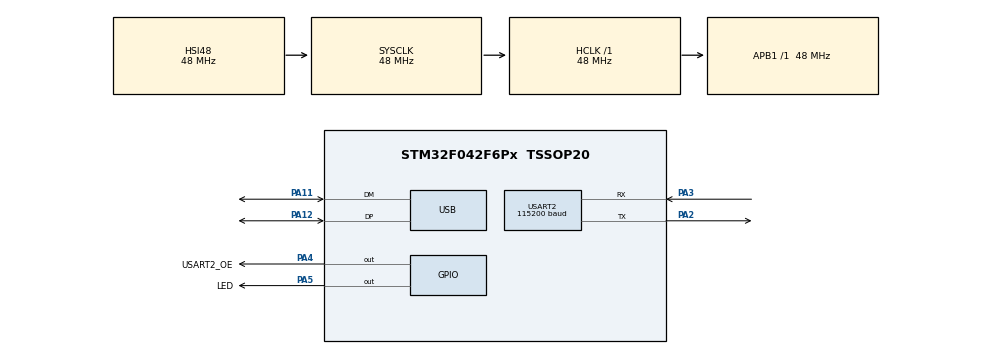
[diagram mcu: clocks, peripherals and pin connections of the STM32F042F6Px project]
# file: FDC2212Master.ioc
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Mcu.Family=STM32F0
Mcu.Name=STM32F042F6Px
Mcu.Package=TSSOP20
NVIC.TIM3_IRQn=true\:0\:0\:false\:false\:true
NVIC.USART2_IRQn=true\:0\:0\:false\:false\:true
NVIC.USB_IRQn=true\:0\:0\:false\:false\:true
PA11.Mode=Device
PA11.Signal=USB_DM
PA12.Mode=Device
PA12.Signal=USB_DP
PA13.Mode=Serial-WireDebug
PA13.Signal=SYS_SWDIO
PA14.Mode=Serial-WireDebug
PA14.Signal=SYS_SWCLK
PA2.Mode=Asynchronous
PA2.Signal=USART2_TX
PA3.Mode=Asynchronous
PA3.Signal=USART2_RX
PA4.GPIO_Label=USART2_OE
PA4.Signal=GPIO_Output
PA5.GPIO_Label=LED
PA5.Signal=GPIO_Output
ProjectManager.HeapSize=0x200
ProjectManager.StackSize=0x400
ProjectManager.TargetToolchain=SW4STM32
RCC.AHBFreq_Value=48000000
RCC.APB1Freq_Value=48000000
RCC.APB1TimFreq_Value=48000000
RCC.HCLKFreq_Value=48000000
RCC.SYSCLKFreq_VALUE=48000000
RCC.SYSCLKSource=RCC_SYSCLKSOURCE_HSI48
TIM3.CounterMode=TIM_COUNTERMODE_UP
TIM3.Period=50
TIM3.Prescaler=48000
TIM3.TIM_MasterOutputTrigger=TIM_TRGO_RESET
USART2.BaudRate=115200
USART2.RxPinLevelInvertParam=UART_ADVFEATURE_RXINV_ENABLE
USART2.TxPinLevelInvertParam=UART_ADVFEATURE_TXINV_ENABLE
USART2.WordLength=UART_WORDLENGTH_8B
USB_DEVICE.CLASS_NAME_FS=CDC
USB_DEVICE.USBD_HandleTypeDef=hUsbDeviceFS
USB_DEVICE.VirtualMode=Cdc
USB_DEVICE.VirtualModeFS=Cdc_FS
VP_SYS_VS_PINREMAP.Mode=PINREMAP
VP_TIM3_VS_ClockSourceINT.Mode=Internal
VP_USB_DEVICE_VS_USB_DEVICE_CDC_FS.Mode=CDC_FS
board=FDC2212Master

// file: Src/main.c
/**
  ******************************************************************************
  * File Name          : main.c
  * Description        : Main program body
  ******************************************************************************
  *
  * COPYRIGHT(c) 2016 STMicroelectronics
  *
  * Redistribution and use in source and binary forms, with or without modification,
  * are permitted provided that the following conditions are met:
  *   1. Redistributions of source code must retain the above copyright notice,
  *      this list of conditions and the following disclaimer.
  *   2. Redistributions in binary form must reproduce the above copyright notice,
  *      this list of conditions and the following disclaimer in the documentation
  *      and/or other materials provided with the distribution.
  *   3. Neither the name of STMicroelectronics nor the names of its contributors
  *      may be used to endorse or promote products derived from this software
  *      without specific prior written permission.
  *
  * THIS SOFTWARE IS PROVIDED BY THE COPYRIGHT HOLDERS AND CONTRIBUTORS "AS IS"
  * AND ANY EXPRESS OR IMPLIED WARRANTIES, INCLUDING, BUT NOT LIMITED TO, THE
  * IMPLIED WARRANTIES OF MERCHANTABILITY AND FITNESS FOR A PARTICULAR PURPOSE ARE
  * DISCLAIMED. IN NO EVENT SHALL THE COPYRIGHT HOLDER OR CONTRIBUTORS BE LIABLE
  * FOR ANY DIRECT, INDIRECT, INCIDENTAL, SPECIAL, EXEMPLARY, OR CONSEQUENTIAL
  * DAMAGES (INCLUDING, BUT NOT LIMITED TO, PROCUREMENT OF SUBSTITUTE GOODS OR
  * SERVICES; LOSS OF USE, DATA, OR PROFITS; OR BUSINESS INTERRUPTION) HOWEVER
  * CAUSED AND ON ANY THEORY OF LIABILITY, WHETHER IN CONTRACT, STRICT LIABILITY,
  * OR TORT (INCLUDING NEGLIGENCE OR OTHERWISE) ARISING IN ANY WAY OUT OF THE USE
  * OF THIS SOFTWARE, EVEN IF ADVISED OF THE POSSIBILITY OF SUCH DAMAGE.
  *
  ******************************************************************************
  */
#include "stm32f0xx_hal.h"
#include "usb_device.h"

/* USER CODE BEGIN Includes */
#include "stm32f0xx_hal_flash.h"
#include "stm32f0xx_hal_flash_ex.h"

__attribute__((section(".config"))) volatile uint16_t flashconfig[32];
volatile uint16_t config[32];

#define CONFIG_KEY_VALID           0
#define CONFIG_KEY_SCANMODE        1
#define CONFIG_KEY_MAX_SLAVE       2
#define CONFIG_KEY_CYCLE_TIME      3
#define CONFIG_KEY_MEASURE_TIME    4
#define CONFIG_KEY_MEASURE_CURRENT 5
#define CONFIG_KEY_LAST            6

#define CONFIG_VALID     config[CONFIG_KEY_VALID]
#define CYCLE_TIME       config[CONFIG_KEY_CYCLE_TIME]
#define MAX_SLAVE        config[CONFIG_KEY_MAX_SLAVE]

#define MEASURE_CURRENT   config[CONFIG_KEY_MEASURE_CURRENT]
#define MEASURE_TIME      config[CONFIG_KEY_MEASURE_TIME]
#define MEASURE_DURATION  (MEASURE_TIME * 2500)
#define SCANMODE          config[CONFIG_KEY_SCANMODE]
//#define MEASURE_DURATION  0x8329

#define USE_USB
#define CONFIGURE_SENSOR

#define SCANMODE_CONTINUOUS  1
#define SCANMODE_SYNCSTOP    2
#define SCANMODE_EARLYSTOP   3

#include "usbd_cdc_if.h"
/* USER CODE END Includes */

TIM_HandleTypeDef htim3;

UART_HandleTypeDef huart2;

/* USER CODE BEGIN PV */
/* Private variables ---------------------------------------------------------*/

#define UART_BUFFER_SIZE 8
volatile uint8_t* uart_read_buf, *uart_write_buf;
volatile int uart_read_pos, uart_read_end, uart_write_pos, uart_write_end;
volatile int tick;
extern USBD_HandleTypeDef hUsbDeviceFS;
char usb_buf[64];
uint8_t usb_pos;
char response[255];
/* USER CODE END PV */

void SystemClock_Config(void);
static void MX_GPIO_Init(void);
static void MX_USART2_UART_Init(void);
static void MX_TIM3_Init(void);

/* USER CODE BEGIN PFP */
/* Private function prototypes -----------------------------------------------*/

/* USER CODE END PFP */

/* USER CODE BEGIN 0 */

#define MODE_STOP        1
#define MODE_CONFIGURE   2
#define MODE_RUN         3
int mode = MODE_CONFIGURE;

void HAL_TIM_PeriodElapsedCallback(TIM_HandleTypeDef *htim)
{
  if (htim->Instance==TIM3) //check if the interrupt comes from TIM3
  {
    tick++;
  }
}

void send_usb(char* data) {
#ifdef USE_USB
  if(*data==0) return;
  while(CDC_Transmit_FS((uint8_t*)data, strlen(data)) == USBD_BUSY);
  *data=0;
#endif
}

void try_send_usb(char* data) {
#ifdef USE_USB
  if(*data==0) return;
  if(CDC_Transmit_FS((uint8_t*)data, strlen(data)) != USBD_BUSY) {
    *data=0;
  }
#endif
}

void printconfig() {
  strcat(response, "** Current Configuration:\r\n");
  char line[32];
  if(SCANMODE == SCANMODE_CONTINUOUS) {
    sprintf(line, "scan_mode       = continuous\r\n"); strcat(response, line);
  } else if(SCANMODE == SCANMODE_EARLYSTOP) {
    sprintf(line, "scan_mode       = earlystop\r\n"); strcat(response, line);
  } else if(SCANMODE == SCANMODE_SYNCSTOP) {
    sprintf(line, "scan_mode       = syncstop\r\n"); strcat(response, line);
  }
  {
    sprintf(line, "max_slave       = %i\r\n", MAX_SLAVE); strcat(response, line);
    sprintf(line, "cycle_time      = %i\r\n", CYCLE_TIME); strcat(response, line);
    sprintf(line, "measure_time    = %i\r\n", MEASURE_TIME); strcat(response, line);
    sprintf(line, "measure_current = %i\r\n", MEASURE_CURRENT); strcat(response, line);
  }
}

void loadconfig() {
  if(flashconfig[CONFIG_KEY_VALID] == 0) {
    strcat(response, "** Loading default configuration.\r\n");
    config[CONFIG_KEY_VALID] = 1;
    MAX_SLAVE = 32;
    SCANMODE = SCANMODE_SYNCSTOP;
    CYCLE_TIME = 20;
    MEASURE_TIME = 13;
    MEASURE_CURRENT = 0x1E;
  } else {
    strcat(response, "** Loading configuration from flash.\r\n");
    for(int i=0; i<CONFIG_KEY_LAST; i++) {
      config[i] = flashconfig[i];
    }
  }
}

void storeconfig() {
  strcat(response, "** Saving configuration to flash.\r\n");
  uint32_t ret;
  FLASH_EraseInitTypeDef stru;
  stru.NbPages = 1;
  stru.PageAddress = (uint32_t) &flashconfig[0];
  stru.TypeErase = TYPEERASE_PAGEERASE;
  HAL_FLASH_Unlock();
  HAL_FLASHEx_Erase(&stru, &ret);
  HAL_FLASH_Lock();

  HAL_FLASH_Unlock();
  for(int i=0; i<CONFIG_KEY_LAST; i++) {
    ret = HAL_FLASH_Program(TYPEPROGRAM_HALFWORD, (uint32_t) &flashconfig[i], config[i]);
  }
  HAL_FLASH_Lock();
}

void usb_received(uint8_t byte) {
#ifdef USE_USB
 if(byte == '\r') {
  sprintf(response, "\r\n");
  usb_buf[usb_pos] = 0;
  int number;
  if(strcmp("stop", usb_buf)== 0 || (mode == MODE_RUN && strcmp("", usb_buf)==0)) {
    strcat(response, "** Configuration Mode\r\n");
    mode = MODE_STOP;
  } else if(strcmp("go", usb_buf)==0 || (mode == MODE_STOP && strcmp("", usb_buf)==0)) {
    strcat(response, "** Continuing Measurement\r\n");
    mode = MODE_CONFIGURE;
  } else if(strcmp("set scan_mode continuous", usb_buf)==0) {
    strcat(response, "** Switched To Continuous Measurement Mode\r\n");
    SCANMODE = SCANMODE_CONTINUOUS;
    printconfig();
  } else if(strcmp("set scan_mode earlystop", usb_buf)==0) {
    strcat(response, "** Switched To Early Stop Measurement Mode\r\n");
    SCANMODE = SCANMODE_EARLYSTOP;
    printconfig();
  } else if(strcmp("set scan_mode syncstop", usb_buf)==0) {
    strcat(response, "** Switched To Synchronized Stop Measurement Mode\r\n");
    SCANMODE = SCANMODE_SYNCSTOP;
    printconfig();
  } else if(sscanf(usb_buf, "set max_slave %i", &number) == 1) {
    if(number < 0 || number > 255) {
      strcat(response, "** max_slave has to be between 0 and 255\r\n");
    } else {
      MAX_SLAVE = number;
      printconfig();
    }
  } else if(sscanf(usb_buf, "set cycle_time %i", &number) == 1) {
    if(number <= MEASURE_TIME) {
      strcat(response, "** cycle_time has to be greater than measure_time\r\n");
    } else {
      CYCLE_TIME = number;
      printconfig();
    }
  } else if(sscanf(usb_buf, "set measure_time %i", &number) == 1) {
    if(number >= CYCLE_TIME) {
      strcat(response, "** measure_time has to be less than cycle_time\r\n");
    } else if(number < 1 || number > 13) {
      strcat(response, "** measure_time has to be between 1 and 13\r\n");
    } else {
      MEASURE_TIME = number;
      printconfig();
    }
  } else if(sscanf(usb_buf, "set measure_current %i", &number) == 1) {
    if(number < 0 || number > 0x1F) {
      strcat(response, "** measure_current has to be between 1 and 31\r\n");
    } else {
      MEASURE_CURRENT = number;
      printconfig();
    }
  } else if(strcmp("set", usb_buf)==0) {
    printconfig();
  } else if(strcmp("reset", usb_buf)==0) {
    config[CONFIG_KEY_VALID] = 0;
    storeconfig();
    loadconfig();
    printconfig();
  } else if(strcmp("save", usb_buf)==0) {
    storeconfig();
    loadconfig();
    printconfig();
  } else if(strcmp("load", usb_buf)==0) {
    loadconfig();
    printconfig();
  } else if(strcmp("set scan_mode", usb_buf)==0) {
    strcat(response, "** Available commands:\r\n");
    strcat(response, "set scan_mode continuous\r\n");
    strcat(response, "set scan_mode earlystop\r\n");
    strcat(response, "set scan_mode syncstop\r\n");
  } else if(strcmp("help", usb_buf)==0) {
    strcat(response, "** Available commands:\r\n");
    strcat(response, "set                show configuration\r\n");
    strcat(response, "set [key] [value]  change configuration [key] to [value]\r\n");
    strcat(response, "load               load configuration from flash\r\n");
    strcat(response, "save               store configuration to flash\r\n");
    strcat(response, "reset              reset configuration to default\r\n");
    strcat(response, "** Press return to continue measurement\r\n");
  } else {
    strcat(response, "** Invalid command ");
    strcat(response, usb_buf);
    strcat(response, "\r\n");
  }
  usb_pos = 0;
 } else if(byte == '\n') {
   // ignore
 } else if(byte == 0x7F) {
   // backspace
   char str[2] = {byte, 0}; strcat(response, str);
   if(usb_pos > 0) usb_pos--;
 } else if(usb_pos < 63 && mode == MODE_STOP) {
   char str[2] = {byte, 0}; strcat(response, str);
   usb_buf[usb_pos++] = byte;
 }
#endif
}

int uart_can_read_len(int len) {
 return ((uart_read_end - uart_read_pos + UART_BUFFER_SIZE) % UART_BUFFER_SIZE) >= len;
}
void uart_flush() {
 uart_read_pos = uart_read_end;
}
uint8_t uart_read() {
 uint8_t ret = uart_read_buf[uart_read_pos];
 uart_read_pos = (uart_read_pos + 1) % UART_BUFFER_SIZE;
 return ret;
}
int uart_write(char data) {
 int next = (uart_write_end + 1) % UART_BUFFER_SIZE;
 if(next == uart_write_pos) return 0;
 uart_write_buf[uart_write_end] = data;
 uart_write_end = next;
 __HAL_UART_ENABLE_IT(&huart2, UART_IT_TXE);
 return 1;
}
int uart_write_complete() {
  return uart_write_pos == uart_write_end;
}

void send_uart(char* data, int len) {
  int i;
  HAL_GPIO_WritePin(USART2_OE_GPIO_Port, USART2_OE_Pin, GPIO_PIN_SET);
  __HAL_UART_SEND_REQ(&huart2, UART_SENDBREAK_REQUEST);
  for(i=0; i<100; i++);
  for(i=0; i<len; i++) uart_write(data[i]);
  while(!uart_write_complete());
}

/* USER CODE END 0 */

int main(void)
{

  /* USER CODE BEGIN 1 */
    uart_read_pos = -1; uart_read_end = -1;
    uart_write_pos = -1; uart_write_end = -1;
    tick = 0;
    int i;
    int slaves = 0;
    loadconfig();

  /* USER CODE END 1 */

  /* MCU Configuration----------------------------------------------------------*/

  /* Reset of all peripherals, Initializes the Flash interface and the Systick. */
  HAL_Init();

  /* Configure the system clock */
  SystemClock_Config();

  /* Initialize all configured peripherals */
  MX_GPIO_Init();
  MX_USART2_UART_Init();
  MX_USB_DEVICE_Init();
  MX_TIM3_Init();

  /* USER CODE BEGIN 2 */
  HAL_TIM_Base_Start_IT(&htim3);

  HAL_GPIO_WritePin(USART2_OE_GPIO_Port, USART2_OE_Pin, GPIO_PIN_RESET);
  HAL_GPIO_WritePin(LED_GPIO_Port, LED_Pin, GPIO_PIN_RESET);
  __HAL_UART_ENABLE_IT(&huart2, UART_IT_RXNE);
  __HAL_UART_ENABLE_IT(&huart2, UART_IT_ERR);

  uart_read_buf = malloc(UART_BUFFER_SIZE);
  uart_write_buf = malloc(UART_BUFFER_SIZE);
  uart_read_pos = uart_read_end = uart_write_pos = uart_write_end = 0;

  tick = 0; while(tick < 50);

#ifdef USE_USB
  USBD_CDC_ReceivePacket(&hUsbDeviceFS);
#endif

  tick = 0; while(tick < 500);
  tick = 0;

  sprintf(response, "** Capacitive Sensor Starting - Press Return To Configure\r\n");

  /* USER CODE END 2 */

  /* Infinite loop */
    while (1) {

  /* USER CODE BEGIN 3 */

        switch(mode) {

        case MODE_CONFIGURE:
            {
                sprintf(response,"** Detecting Sensors\r\n"); send_usb(response);
                slaves = 0;
                for(int slave = 1; slave < MAX_SLAVE; slave++) {
                    // query status
                    HAL_GPIO_WritePin(LED_GPIO_Port, LED_Pin, GPIO_PIN_SET);
                    {char data[] = {slave, 0x10}; send_uart(data, 2);}
                    HAL_GPIO_WritePin(LED_GPIO_Port, LED_Pin, GPIO_PIN_RESET);
                    tick = 0; while(tick < 10);
                    // no response? -> try next slave
                    if(!uart_can_read_len(2)) {
                        uart_flush();
                        continue;
                    }
                    HAL_GPIO_WritePin(LED_GPIO_Port, LED_Pin, GPIO_PIN_SET);
                    sprintf(response,"Found sensor #%02x\r\n", slave); send_usb(response);

                    // report channels at the corresponding broadcast message
                    {tick = 0; char data[] = {slave, 0x12, 0x00, slaves * 4}; send_uart(data, 4); while(tick < 10); }
                    {tick = 0; char data[] = {slave, 0x22, 0x01, slaves * 4}; send_uart(data, 4); while(tick < 10);}

                    #ifdef CONFIGURE_SENSOR
                    {tick = 0; char data[] = {slave, 0x13, MEASURE_CURRENT, MEASURE_DURATION >> 8, MEASURE_DURATION & 0xFF}; send_uart(data, 5); while(tick < 10);}
                    {tick = 0; char data[] = {slave, 0x23, MEASURE_CURRENT, MEASURE_DURATION >> 8, MEASURE_DURATION & 0xFF}; send_uart(data, 5); while(tick < 10);}
                    #endif

                    // global settings
                    if(SCANMODE == SCANMODE_SYNCSTOP) {
                        // scan at start of other broadcast message
                        {tick = 0; char data[] = {slave, 0x11, 0x01, 0x00}; send_uart(data, 4); while(tick < 10);}
                        {tick = 0; char data[] = {slave, 0x21, 0x00, 0x00}; send_uart(data, 4); while(tick < 10);}
                        // stop on 0xFF broadcast
                        {tick = 0; char data[] = {slave, 0x01, 0xFF, 0x00}; send_uart(data, 4); while(tick < 10);}
                    } else if(SCANMODE == SCANMODE_EARLYSTOP) {
                        // scan at start of other broadcast message
                        {tick = 0; char data[] = {slave, 0x11, 0x01, 0x00}; send_uart(data, 4); while(tick < 10);}
                        {tick = 0; char data[] = {slave, 0x21, 0x00, 0x00}; send_uart(data, 4); while(tick < 10);}
                        // disable stop broadcast
                        {tick = 0; char data[] = {slave, 0x01}; send_uart(data, 2); while(tick < 10);}
                    } else if(SCANMODE == SCANMODE_CONTINUOUS) {
                        // enable continuous scan
                        {tick = 0; char data[] = {slave, 0x02}; send_uart(data, 2); while(tick < 10);}
                    }
                    HAL_GPIO_WritePin(LED_GPIO_Port, LED_Pin, GPIO_PIN_RESET);

                    slaves++;
                    uart_flush();
                }

                sprintf(response,"** Configuration completed\r\n"); send_usb(response);

                mode = MODE_RUN;
                break;
            }
        case MODE_STOP:
            {
                if(*response != 0) try_send_usb(response);
                break;
            }
        case MODE_RUN:
            {
                int channelCount = (SCANMODE == SCANMODE_CONTINUOUS) ? 1 : 2;

                sprintf(response,"\r\n\t"); send_usb(response);
                for(int current = 0; current < channelCount; current++) {
                    HAL_GPIO_WritePin(LED_GPIO_Port, LED_Pin, GPIO_PIN_SET);
                    // send corresponding broadcast
                    {char data[] = {0x00, current}; send_uart(data, 2);}
                    HAL_GPIO_WritePin(LED_GPIO_Port, LED_Pin, GPIO_PIN_RESET);

                    int received = 0;
                    while(tick < CYCLE_TIME - 1) {
                        if(!uart_can_read_len(4)) continue;

                        response[0] = uart_read();
                        response[1] = uart_read();
                        response[2] = uart_read();
                        response[3] = uart_read();
                        int32_t value = *((int32_t*)(response));

                        if(mode != MODE_RUN) break;
                        sprintf(response,"%lu\t", value); send_usb(response);
                        received++;
                    }

                    if(SCANMODE == SCANMODE_SYNCSTOP) {
                        char data[] = {0x00, 0xFF}; send_uart(data, 2);
                    }

                    while(tick < CYCLE_TIME);
                    tick -= CYCLE_TIME;

                    if(mode != MODE_RUN) break;
                    for(i=received; i<slaves; i++) {
                        sprintf(response,"-0\t"); send_usb(response);
                    }
                    uart_flush();
                }

                break;
            }
        default:
            {
                sprintf(response,"Invalid mode %i\r\n\t", mode); send_usb(response);
            }
        }
    }

    sprintf(response,"Exiting main loop\r\n"); send_usb(response);
  /* USER CODE END 3 */

}

/** System Clock Configuration
*/
void SystemClock_Config(void)
{

  RCC_OscInitTypeDef RCC_OscInitStruct;
  RCC_ClkInitTypeDef RCC_ClkInitStruct;
  RCC_PeriphCLKInitTypeDef PeriphClkInit;

  RCC_OscInitStruct.OscillatorType = RCC_OSCILLATORTYPE_HSI48;
  RCC_OscInitStruct.HSI48State = RCC_HSI48_ON;
  RCC_OscInitStruct.PLL.PLLState = RCC_PLL_NONE;
  HAL_RCC_OscConfig(&RCC_OscInitStruct);

  RCC_ClkInitStruct.ClockType = RCC_CLOCKTYPE_HCLK|RCC_CLOCKTYPE_SYSCLK
                              |RCC_CLOCKTYPE_PCLK1;
  RCC_ClkInitStruct.SYSCLKSource = RCC_SYSCLKSOURCE_HSI48;
  RCC_ClkInitStruct.AHBCLKDivider = RCC_SYSCLK_DIV1;
  RCC_ClkInitStruct.APB1CLKDivider = RCC_HCLK_DIV1;
  HAL_RCC_ClockConfig(&RCC_ClkInitStruct, FLASH_LATENCY_1);

  PeriphClkInit.PeriphClockSelection = RCC_PERIPHCLK_USB;
  PeriphClkInit.UsbClockSelection = RCC_USBCLKSOURCE_HSI48;
  HAL_RCCEx_PeriphCLKConfig(&PeriphClkInit);

  HAL_SYSTICK_Config(HAL_RCC_GetHCLKFreq()/1000);

  HAL_SYSTICK_CLKSourceConfig(SYSTICK_CLKSOURCE_HCLK);

  /* SysTick_IRQn interrupt configuration */
  HAL_NVIC_SetPriority(SysTick_IRQn, 0, 0);
}

/* TIM3 init function */
void MX_TIM3_Init(void)
{

  TIM_ClockConfigTypeDef sClockSourceConfig;
  TIM_MasterConfigTypeDef sMasterConfig;

  htim3.Instance = TIM3;
  htim3.Init.Prescaler = 24000;
  htim3.Init.CounterMode = TIM_COUNTERMODE_UP;
  htim3.Init.Period = 1;
  htim3.Init.ClockDivision = TIM_CLOCKDIVISION_DIV1;
  HAL_TIM_Base_Init(&htim3);

  sClockSourceConfig.ClockSource = TIM_CLOCKSOURCE_INTERNAL;
  HAL_TIM_ConfigClockSource(&htim3, &sClockSourceConfig);

  sMasterConfig.MasterOutputTrigger = TIM_TRGO_RESET;
  sMasterConfig.MasterSlaveMode = TIM_MASTERSLAVEMODE_DISABLE;
  HAL_TIMEx_MasterConfigSynchronization(&htim3, &sMasterConfig);

}

/* USART2 init function */
void MX_USART2_UART_Init(void)
{

  huart2.Instance = USART2;
  huart2.Init.BaudRate = 115200;
  huart2.Init.WordLength = UART_WORDLENGTH_8B;
  huart2.Init.StopBits = UART_STOPBITS_1;
  huart2.Init.Parity = UART_PARITY_NONE;
  huart2.Init.Mode = UART_MODE_TX_RX;
  huart2.Init.HwFlowCtl = UART_HWCONTROL_NONE;
  huart2.Init.OverSampling = UART_OVERSAMPLING_16;
  huart2.Init.OneBitSampling = UART_ONE_BIT_SAMPLE_DISABLE;
  huart2.AdvancedInit.AdvFeatureInit = UART_ADVFEATURE_TXINVERT_INIT|UART_ADVFEATURE_RXINVERT_INIT;
  huart2.AdvancedInit.TxPinLevelInvert = UART_ADVFEATURE_TXINV_ENABLE;
  huart2.AdvancedInit.RxPinLevelInvert = UART_ADVFEATURE_RXINV_ENABLE;
  HAL_UART_Init(&huart2);

}

/** Configure pins as
        * Analog
        * Input
        * Output
        * EVENT_OUT
        * EXTI
*/
void MX_GPIO_Init(void)
{

  GPIO_InitTypeDef GPIO_InitStruct;

  /* GPIO Ports Clock Enable */
  __HAL_RCC_GPIOA_CLK_ENABLE();

  /*Configure GPIO pin Output Level */
  HAL_GPIO_WritePin(GPIOA, USART2_OE_Pin|LED_Pin, GPIO_PIN_RESET);

  /*Configure GPIO pins : USART2_OE_Pin LED_Pin */
  GPIO_InitStruct.Pin = USART2_OE_Pin|LED_Pin;
  GPIO_InitStruct.Mode = GPIO_MODE_OUTPUT_PP;
  GPIO_InitStruct.Pull = GPIO_NOPULL;
  GPIO_InitStruct.Speed = GPIO_SPEED_FREQ_LOW;
  HAL_GPIO_Init(GPIOA, &GPIO_InitStruct);

}

/************************ (C) COPYRIGHT STMicroelectronics *****END OF FILE****/
